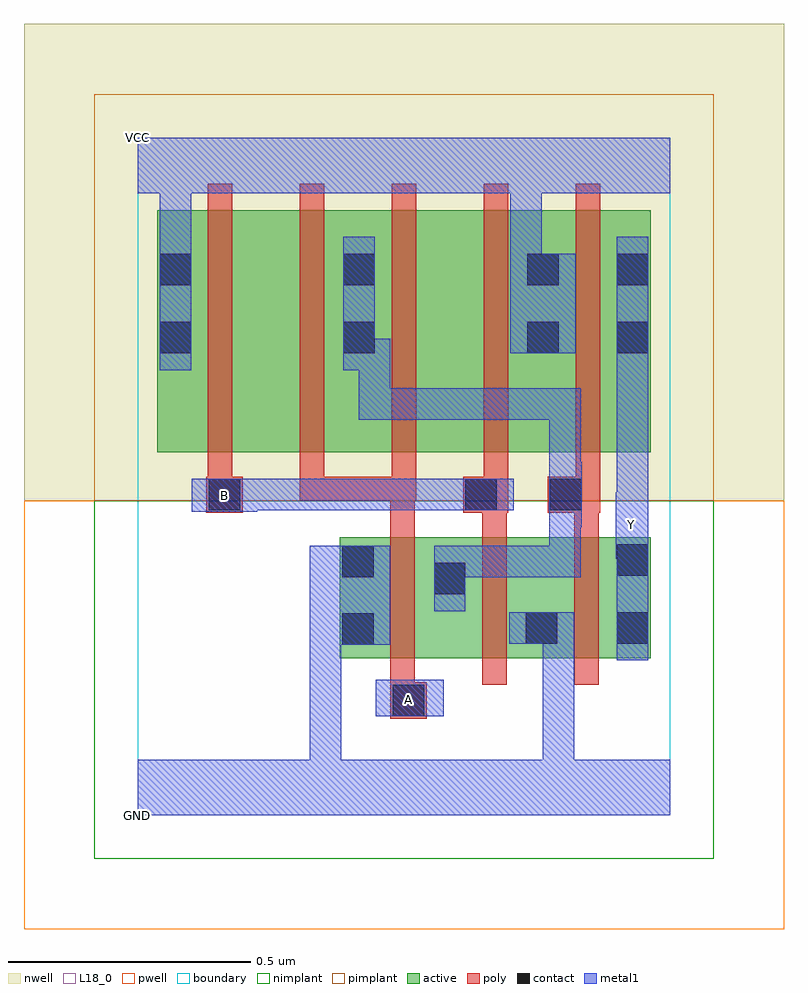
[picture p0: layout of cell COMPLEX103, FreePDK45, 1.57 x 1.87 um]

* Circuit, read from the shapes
.subckt COMPLEX103 A B GND VCC Y
M1 n1 A GND VSUBS nfet w=0.25u l=0.05u
M2 GND B n1 VSUBS nfet w=0.25u l=0.05u
M3 Y n1 GND VSUBS nfet w=0.25u l=0.05u
M4 n2 B VCC n3 pfet w=0.5u l=0.05u
M5 n1 A n2 n3 pfet w=0.5u l=0.05u
M6 n4 A n1 n3 pfet w=0.5u l=0.05u
M7 VCC B n4 n3 pfet w=0.5u l=0.05u
M8 Y n1 VCC n3 pfet w=0.5u l=0.05u
.ends

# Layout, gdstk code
import gdstk
lib = gdstk.Library(unit=1e-6, precision=1e-09)
def R(c, l, rs):  # rectangles x0, y0, x1, y1
    for r in rs: c.add(gdstk.rectangle(r[:2], r[2:], *l))
def A(c, l, x, y, w, h, nx, ny, dx, dy):  # array of equal rectangles
    R(c, l, [(x+i*dx, y+j*dy, x+i*dx+w, y+j*dy+h) for i in range(nx) for j in range(ny)])
active = (1, 0)
pwell = (2, 0)
nwell = (3, 0)
nimplant = (4, 0)
pimplant = (5, 0)
poly = (9, 0)
contact = (10, 0)
metal1 = (11, 0)
L18_0 = (18, 0)
boundary = (235, 0)

complex103 = lib.new_cell('COMPLEX103')
R(complex103, active, [(0.417,0.325,0.492,0.575), (0.417,0.325,0.682,0.575), (0.607,0.325,0.872,0.575), (0.797,0.325,1.06,0.575), (0.797,0.325,0.872,0.497), (0.985,0.325,1.06,0.575), (0.607,0.332,0.682,0.57), (0.04,0.75,0.265,1.25), (0.04,0.75,0.115,1.25), (0.265,0.75,0.495,1.25), (0.42,0.75,0.495,1.2), (0.42,0.75,0.645,1.25), (0.645,0.75,0.875,1.25), (0.8,0.75,1.06,1.25), (0.985,0.75,1.06,1.2), (0.8,0.807,0.875,1.25)])
R(complex103, pwell, [(-0.235,-0.235,1.335,0.65)])
R(complex103, nwell, [(-0.235,0.65,1.335,1.635)])
R(complex103, nimplant, [(-0.09,-0.09,1.19,0.65)])
R(complex103, pimplant, [(-0.09,0.65,1.19,1.49)])
A(complex103, poly, 0.522, 0.27, 0.05, 0.36, 3, 1, 0.19, 0)
A(complex103, poly, 0.145, 0.65, 0.05, 0.095, 5, 1, 0.19, 0)
A(complex103, poly, 0.145, 0.695, 0.05, 0.61, 5, 1, 0.19, 0)
R(complex103, poly, [(0.522,0.2,0.597,0.275), (0.522,0.225,0.572,0.32), (0.522,0.58,0.572,0.7), (0.712,0.58,0.762,0.675), (0.902,0.58,0.952,0.675), (0.142,0.625,0.217,0.7), (0.672,0.625,0.765,0.7), (0.847,0.625,0.955,0.7), (0.335,0.65,0.385,0.7), (0.335,0.65,0.572,0.7), (0.522,0.65,0.572,0.7), (0.522,0.65,0.572,0.7), (0.522,0.65,0.575,0.7)])
A(complex103, contact, 0.045, 0.955, 0.065, 0.065, 3, 2, 0.38, 0.14)
R(complex103, contact, [(0.527,0.205,0.592,0.27), (0.422,0.352,0.487,0.417), (0.802,0.355,0.867,0.42), (0.99,0.355,1.055,0.42), (0.612,0.457,0.677,0.522), (0.422,0.492,0.487,0.557), (0.99,0.495,1.055,0.56), (0.147,0.63,0.212,0.695), (0.677,0.63,0.742,0.695), (0.852,0.63,0.917,0.695), (0.99,0.955,1.055,1.02), (0.99,1.095,1.055,1.16)])
R(complex103, metal1, [(0,0,1.1,0.115), (0.355,0.05,0.42,0.417), (0.837,0.05,0.902,0.42), (0.492,0.205,0.632,0.28), (0.99,0.32,1.055,0.595), (0.355,0.352,0.42,0.417), (0.355,0.352,0.42,0.417), (0.355,0.352,0.42,0.417), (0.355,0.352,0.42,0.417), (0.355,0.352,0.42,0.417), (0.355,0.352,0.42,0.417), (0.355,0.352,0.522,0.557), (0.767,0.355,0.902,0.42), (0.837,0.355,0.902,0.42), (0.837,0.355,0.902,0.42), (0.837,0.355,0.902,0.42), (0.837,0.355,0.902,0.42), (0.837,0.355,0.902,0.42), (0.837,0.355,0.902,0.42), (0.612,0.422,0.677,0.557), (0.612,0.492,0.677,0.557), (0.612,0.492,0.677,0.557), (0.612,0.492,0.915,0.557), (0.85,0.492,0.915,0.557), (0.85,0.492,0.915,0.66), (0.987,0.53,1.055,0.667), (0.99,0.53,1.055,0.595), (0.85,0.595,0.915,0.66), (0.85,0.595,0.917,0.66), (0.85,0.595,0.915,0.882), (0.852,0.595,0.917,0.73), (0.99,0.602,1.055,0.985), (0.112,0.627,0.247,0.695), (0.182,0.63,0.247,0.695), (0.182,0.63,0.247,0.695), (0.182,0.63,0.385,0.695), (0.32,0.63,0.385,0.695), (0.32,0.63,0.385,0.695), (0.32,0.63,0.385,0.695), (0.32,0.63,0.522,0.695), (0.457,0.63,0.522,0.695), (0.457,0.63,0.66,0.695), (0.595,0.63,0.66,0.695), (0.595,0.63,0.707,0.695), (0.642,0.63,0.777,0.695), (0.457,0.817,0.522,0.985), (0.457,0.817,0.66,0.882), (0.595,0.817,0.66,0.882), (0.595,0.817,0.66,0.882), (0.595,0.817,0.66,0.882), (0.595,0.817,0.915,0.882), (0.85,0.817,0.915,0.882), (0.045,0.92,0.11,1.195), (0.425,0.92,0.49,1.195), (0.425,0.92,0.522,0.985), (0.99,0.92,1.055,1.195), (0.77,0.955,0.905,1.16), (0.77,1.095,0.835,1.35), (0.045,1.13,0.11,1.35), (0,1.285,1.1,1.4), (0.045,1.285,0.11,1.35), (0.045,1.285,0.11,1.35), (0.77,1.285,0.835,1.35), (0.77,1.285,0.835,1.35)])
R(complex103, L18_0, [(0,0,1.1,0.115), (0.355,0.05,0.42,0.417), (0.837,0.05,0.902,0.42), (0.492,0.205,0.632,0.28), (0.527,0.207,0.592,0.272), (0.99,0.32,1.055,0.595), (0.355,0.352,0.42,0.417), (0.355,0.352,0.42,0.417), (0.355,0.352,0.42,0.417), (0.355,0.352,0.42,0.417), (0.355,0.352,0.42,0.417), (0.355,0.352,0.42,0.417), (0.355,0.352,0.522,0.557), (0.767,0.355,0.902,0.42), (0.837,0.355,0.902,0.42), (0.837,0.355,0.902,0.42), (0.837,0.355,0.902,0.42), (0.837,0.355,0.902,0.42), (0.837,0.355,0.902,0.42), (0.837,0.355,0.902,0.42), (0.987,0.53,1.055,0.667), (0.99,0.53,1.055,0.595), (0.987,0.567,1.052,0.632), (0.99,0.602,1.055,0.985), (0.112,0.627,0.247,0.695), (0.147,0.627,0.212,0.692), (0.182,0.63,0.247,0.695), (0.182,0.63,0.247,0.695), (0.182,0.63,0.385,0.695), (0.32,0.63,0.385,0.695), (0.32,0.63,0.385,0.695), (0.32,0.63,0.385,0.695), (0.32,0.63,0.522,0.695), (0.457,0.63,0.522,0.695), (0.457,0.63,0.66,0.695), (0.595,0.63,0.66,0.695), (0.595,0.63,0.707,0.695), (0.642,0.63,0.777,0.695), (0.045,0.92,0.11,1.195), (0.99,0.92,1.055,1.195), (0.77,0.955,0.905,1.16), (0.77,1.095,0.835,1.35), (0.045,1.13,0.11,1.35), (0,1.285,1.1,1.4), (0.045,1.285,0.11,1.35), (0.045,1.285,0.11,1.35), (0.77,1.285,0.835,1.35), (0.77,1.285,0.835,1.35)])
R(complex103, boundary, [(0,0,1.1,1.4)])
complex103.add(gdstk.Label('A', (0.56,0.24), layer=11, texttype=0))
complex103.add(gdstk.Label('B', (0.18,0.66), layer=11, texttype=0))
complex103.add(gdstk.Label('Y', (1.02,0.6), layer=11, texttype=0))
complex103.add(gdstk.Label('VCC', (0,1.4), layer=11, texttype=0))
complex103.add(gdstk.Label('GND', (0,0), layer=11, texttype=0))

lib.write_gds('COMPLEX103.gds')
